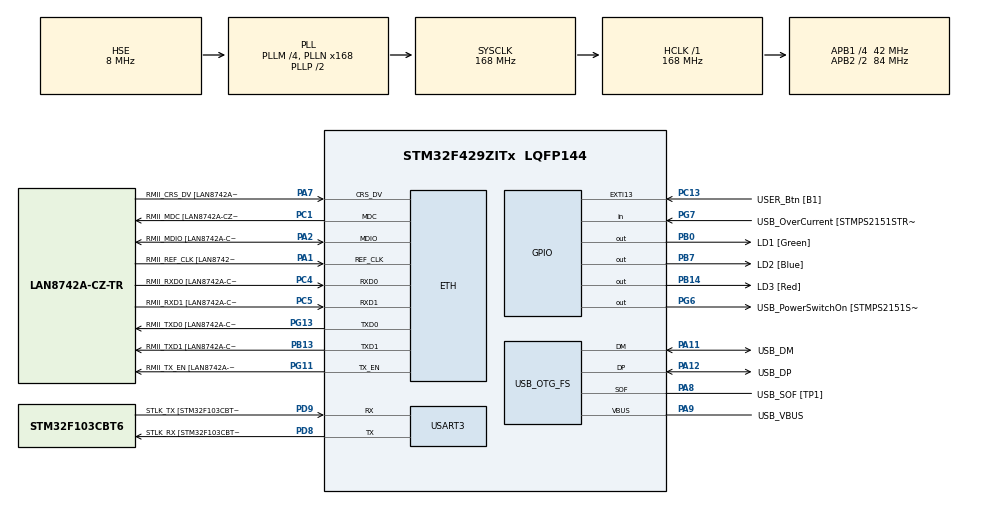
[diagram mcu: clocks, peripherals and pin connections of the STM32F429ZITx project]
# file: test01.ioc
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ETH.MediaInterface=HAL_ETH_RMII_MODE
ETH.PHY_Name=LAN8742A_PHY_ADDRESS
ETH.PHY_Value=0
ETH.PhyAddress=0
Mcu.Family=STM32F4
Mcu.Name=STM32F429ZITx
Mcu.Package=LQFP144
NVIC.PriorityGroup=NVIC_PRIORITYGROUP_4
PA1.GPIO_Label=RMII_REF_CLK [LAN8742A-CZ-TR_REFCLK0]
PA1.Mode=RMII
PA1.Signal=ETH_REF_CLK
PA10.GPIO_Label=USB_ID
PA10.Signal=USB_OTG_FS_ID
PA11.GPIO_Label=USB_DM
PA11.Mode=Device_Only
PA11.Signal=USB_OTG_FS_DM
PA12.GPIO_Label=USB_DP
PA12.Mode=Device_Only
PA12.Signal=USB_OTG_FS_DP
PA13.GPIO_Label=TMS
PA13.Mode=Serial_Wire
PA13.Signal=SYS_JTMS-SWDIO
PA14.GPIO_Label=TCK
PA14.Mode=Serial_Wire
PA14.Signal=SYS_JTCK-SWCLK
PA2.GPIO_Label=RMII_MDIO [LAN8742A-CZ-TR_MDIO]
PA2.Mode=RMII
PA2.Signal=ETH_MDIO
PA7.GPIO_Label=RMII_CRS_DV [LAN8742A-CZ-TR_CRS_DV]
PA7.Mode=RMII
PA7.Signal=ETH_CRS_DV
PA8.GPIO_Label=USB_SOF [TP1]
PA8.Mode=Activate_SOF_FS
PA8.Signal=USB_OTG_FS_SOF
PA9.GPIO_Label=USB_VBUS
PA9.Mode=Activate_VBUS
PA9.Signal=USB_OTG_FS_VBUS
PB0.GPIO_Label=LD1 [Green]
PB0.Signal=GPIO_Output
PB13.GPIO_Label=RMII_TXD1 [LAN8742A-CZ-TR_TXD1]
PB13.Mode=RMII
PB13.Signal=ETH_TXD1
PB14.GPIO_Label=LD3 [Red]
PB14.Signal=GPIO_Output
PB7.GPIO_Label=LD2 [Blue]
PB7.Signal=GPIO_Output
PC1.GPIO_Label=RMII_MDC [LAN8742A-CZ-TR_MDC]
PC1.Mode=RMII
PC1.Signal=ETH_MDC
PC13.GPIO_Label=USER_Btn [B1]
PC13.Signal=GPXTI13
PC14/OSC32_IN.Mode=LSE-External-Oscillator
PC14/OSC32_IN.Signal=RCC_OSC32_IN
PC15/OSC32_OUT.Mode=LSE-External-Oscillator
PC15/OSC32_OUT.Signal=RCC_OSC32_OUT
PC4.GPIO_Label=RMII_RXD0 [LAN8742A-CZ-TR_RXD0]
PC4.Mode=RMII
PC4.Signal=ETH_RXD0
PC5.GPIO_Label=RMII_RXD1 [LAN8742A-CZ-TR_RXD1]
PC5.Mode=RMII
PC5.Signal=ETH_RXD1
PD8.GPIO_Label=STLK_RX [STM32F103CBT6_PA3]
PD8.Mode=Asynchronous
PD8.Signal=USART3_TX
PD9.GPIO_Label=STLK_TX [STM32F103CBT6_PA2]
PD9.Mode=Asynchronous
PD9.Signal=USART3_RX
PG11.GPIO_Label=RMII_TX_EN [LAN8742A-CZ-TR_TXEN]
PG11.Mode=RMII
PG11.Signal=ETH_TX_EN
PG13.GPIO_Label=RMII_TXD0 [LAN8742A-CZ-TR_TXD0]
PG13.Mode=RMII
PG13.Signal=ETH_TXD0
PG6.GPIO_Label=USB_PowerSwitchOn [STMPS2151STR_EN]
PG6.Signal=GPIO_Output
PG7.GPIO_Label=USB_OverCurrent [STMPS2151STR_FAULT]
PG7.Signal=GPIO_Input
PH0/OSC_IN.GPIO_Label=MCO [STM32F103CBT6_PA8]
PH0/OSC_IN.Mode=HSE-External-Clock-Source
PH0/OSC_IN.Signal=RCC_OSC_IN
PH1/OSC_OUT.Mode=HSE-External-Clock-Source
PH1/OSC_OUT.Signal=RCC_OSC_OUT
ProjectManager.HeapSize=0x200
ProjectManager.StackSize=0x400
ProjectManager.TargetToolchain=STM32CubeIDE
RCC.48MHZClocksFreq_Value=48000000
RCC.AHBFreq_Value=168000000
RCC.APB1CLKDivider=RCC_HCLK_DIV4
RCC.APB1Freq_Value=42000000
RCC.APB1TimFreq_Value=84000000
RCC.APB2CLKDivider=RCC_HCLK_DIV2
RCC.APB2Freq_Value=84000000
RCC.APB2TimCLKDivider=2
RCC.APB2TimFreq_Value=168000000
RCC.CortexFreq_Value=168000000
RCC.HCLKFreq_Value=168000000
RCC.HSE_VALUE=8000000
RCC.HSI_VALUE=16000000
RCC.PLLM=4
RCC.PLLMUL=RCC_PLL_MUL9
RCC.PLLN=168
RCC.PLLQ=7
RCC.PRESCALERUSB=RCC_USBCLKSOURCE_PLL_DIV1_5
RCC.SYSCLKFreq_VALUE=168000000
RCC.SYSCLKSource=RCC_SYSCLKSOURCE_PLLCLK
RCC.SYSCLKSourceVirtual=RCC_SYSCLKSOURCE_PLLCLK
RCC.USBFreq_Value=48000000
RCC.VCOOutputFreq_Value=336000000
USART3.VirtualMode=VM_ASYNC
USB_OTG_FS.VirtualMode=Device_Only
board=NUCLEO-F429ZI

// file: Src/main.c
/* USER CODE BEGIN Header */
/**
  ******************************************************************************
  * @file           : main.c
  * @brief          : Main program body
  ******************************************************************************
  * @attention
  *
  * Copyright (c) 2024 STMicroelectronics.
  * All rights reserved.
  *
  * This software is licensed under terms that can be found in the LICENSE file
  * in the root directory of this software component.
  * If no LICENSE file comes with this software, it is provided AS-IS.
  *
  ******************************************************************************
  */
/* USER CODE END Header */
#include "main.h"
#include "string.h"
#include "stm32f4xx_hal.h"

/* USER CODE BEGIN Includes */
#include "stdio.h"
#include "stdbool.h"
/* USER CODE END Includes */

ETH_TxPacketConfig TxConfig;
ETH_DMADescTypeDef  DMARxDscrTab[ETH_RX_DESC_CNT]; /* Ethernet Rx DMA Descriptors */
ETH_DMADescTypeDef  DMATxDscrTab[ETH_TX_DESC_CNT]; /* Ethernet Tx DMA Descriptors */

ETH_HandleTypeDef heth;

UART_HandleTypeDef huart3;

PCD_HandleTypeDef hpcd_USB_OTG_FS;

void SystemClock_Config(void);
static void MX_GPIO_Init(void);
static void MX_ETH_Init(void);
static void MX_USART3_UART_Init(void);
static void MX_USB_OTG_FS_PCD_Init(void);

int main(void)

{

  /* MCU Configuration--------------------------------------------------------*/

  /* Reset of all peripherals, Initializes the Flash interface and the Systick. */
  HAL_Init();

  /* Configure the system clock */
  SystemClock_Config();

  /* Initialize all configured peripherals */
  MX_GPIO_Init();
  MX_ETH_Init();
  MX_USART3_UART_Init();
  MX_USB_OTG_FS_PCD_Init();

  /* USER CODE BEGIN 2 */
  printf("System Started....!\r\n");
  /* USER CODE END 2 */

  /* Infinite loop */
  /* USER CODE BEGIN WHILE */
  while (1)
  {
	  static uint8_t i=0;
	  HAL_Delay(500);
	  printf("\n%02x\r\n",i++);
	  {
		  float a = 0.100000000001f;
		  float b = 0.899999999999f;

		  printf("result = %f. %f\r\n",a+b,1.23456789012345678);

	  }

	  HAL_GPIO_TogglePin(LD1_GPIO_Port, LD1_Pin);

	  led1_on();
	  HAL_Delay(300);
	  led1_off();

	  HAL_GPIO_TogglePin(LD2_GPIO_Port, LD2_Pin);

	  /*led2_on();
	  HAL_Delay(300);
	  led2_off(); */

	  void led2_onoff(bool on_flag);
	  HAL_Delay(300);

	  HAL_GPIO_TogglePin(LD3_GPIO_Port, LD3_Pin);

	  led3_on();
	  HAL_Delay(300);
	  led3_off();
    /* USER CODE END WHILE */

  }
}

void SystemClock_Config(void)
{
  RCC_OscInitTypeDef RCC_OscInitStruct = {0};
  RCC_ClkInitTypeDef RCC_ClkInitStruct = {0};

  /** Configure the main internal regulator output voltage
  */
  __HAL_RCC_PWR_CLK_ENABLE();
  __HAL_PWR_VOLTAGESCALING_CONFIG(PWR_REGULATOR_VOLTAGE_SCALE1);

  /** Initializes the RCC Oscillators according to the specified parameters
  * in the RCC_OscInitTypeDef structure.
  */
  RCC_OscInitStruct.OscillatorType = RCC_OSCILLATORTYPE_HSE;
  RCC_OscInitStruct.HSEState = RCC_HSE_BYPASS;
  RCC_OscInitStruct.PLL.PLLState = RCC_PLL_ON;
  RCC_OscInitStruct.PLL.PLLSource = RCC_PLLSOURCE_HSE;
  RCC_OscInitStruct.PLL.PLLM = 4;
  RCC_OscInitStruct.PLL.PLLN = 168;
  RCC_OscInitStruct.PLL.PLLP = RCC_PLLP_DIV2;
  RCC_OscInitStruct.PLL.PLLQ = 7;
  if (HAL_RCC_OscConfig(&RCC_OscInitStruct) != HAL_OK)
  {
    Error_Handler();
  }

  /** Initializes the CPU, AHB and APB buses clocks
  */
  RCC_ClkInitStruct.ClockType = RCC_CLOCKTYPE_HCLK|RCC_CLOCKTYPE_SYSCLK
                              |RCC_CLOCKTYPE_PCLK1|RCC_CLOCKTYPE_PCLK2;
  RCC_ClkInitStruct.SYSCLKSource = RCC_SYSCLKSOURCE_PLLCLK;
  RCC_ClkInitStruct.AHBCLKDivider = RCC_SYSCLK_DIV1;
  RCC_ClkInitStruct.APB1CLKDivider = RCC_HCLK_DIV4;
  RCC_ClkInitStruct.APB2CLKDivider = RCC_HCLK_DIV2;

  if (HAL_RCC_ClockConfig(&RCC_ClkInitStruct, FLASH_LATENCY_5) != HAL_OK)
  {
    Error_Handler();
  }
}

static void MX_ETH_Init(void)
{

   static uint8_t MACAddr[6];

  heth.Instance = ETH;
  MACAddr[0] = 0x00;
  MACAddr[1] = 0x80;
  MACAddr[2] = 0xE1;
  MACAddr[3] = 0x00;
  MACAddr[4] = 0x00;
  MACAddr[5] = 0x00;
  heth.Init.MACAddr = &MACAddr[0];
  heth.Init.MediaInterface = HAL_ETH_RMII_MODE;
  heth.Init.TxDesc = DMATxDscrTab;
  heth.Init.RxDesc = DMARxDscrTab;
  heth.Init.RxBuffLen = 1524;

  if (HAL_ETH_Init(&heth) != HAL_OK)
  {
    Error_Handler();
  }

  memset(&TxConfig, 0 , sizeof(ETH_TxPacketConfig));
  TxConfig.Attributes = ETH_TX_PACKETS_FEATURES_CSUM | ETH_TX_PACKETS_FEATURES_CRCPAD;
  TxConfig.ChecksumCtrl = ETH_CHECKSUM_IPHDR_PAYLOAD_INSERT_PHDR_CALC;
  TxConfig.CRCPadCtrl = ETH_CRC_PAD_INSERT;

}

static void MX_USART3_UART_Init(void)
{

  huart3.Instance = USART3;
  huart3.Init.BaudRate = 115200;
  huart3.Init.WordLength = UART_WORDLENGTH_8B;
  huart3.Init.StopBits = UART_STOPBITS_1;
  huart3.Init.Parity = UART_PARITY_NONE;
  huart3.Init.Mode = UART_MODE_TX_RX;
  huart3.Init.HwFlowCtl = UART_HWCONTROL_NONE;
  huart3.Init.OverSampling = UART_OVERSAMPLING_16;
  if (HAL_UART_Init(&huart3) != HAL_OK)
  {
    Error_Handler();
  }

}

static void MX_USB_OTG_FS_PCD_Init(void)
{

  hpcd_USB_OTG_FS.Instance = USB_OTG_FS;
  hpcd_USB_OTG_FS.Init.dev_endpoints = 4;
  hpcd_USB_OTG_FS.Init.speed = PCD_SPEED_FULL;
  hpcd_USB_OTG_FS.Init.dma_enable = DISABLE;
  hpcd_USB_OTG_FS.Init.phy_itface = PCD_PHY_EMBEDDED;
  hpcd_USB_OTG_FS.Init.Sof_enable = ENABLE;
  hpcd_USB_OTG_FS.Init.low_power_enable = DISABLE;
  hpcd_USB_OTG_FS.Init.lpm_enable = DISABLE;
  hpcd_USB_OTG_FS.Init.vbus_sensing_enable = ENABLE;
  hpcd_USB_OTG_FS.Init.use_dedicated_ep1 = DISABLE;
  if (HAL_PCD_Init(&hpcd_USB_OTG_FS) != HAL_OK)
  {
    Error_Handler();
  }

}

static void MX_GPIO_Init(void)
{
  GPIO_InitTypeDef GPIO_InitStruct = {0};

  /* GPIO Ports Clock Enable */
  __HAL_RCC_GPIOC_CLK_ENABLE();
  __HAL_RCC_GPIOH_CLK_ENABLE();
  __HAL_RCC_GPIOA_CLK_ENABLE();
  __HAL_RCC_GPIOB_CLK_ENABLE();
  __HAL_RCC_GPIOD_CLK_ENABLE();
  __HAL_RCC_GPIOG_CLK_ENABLE();

  /*Configure GPIO pin Output Level */
  HAL_GPIO_WritePin(GPIOB, LD1_Pin|LD3_Pin|LD2_Pin, GPIO_PIN_RESET);

  /*Configure GPIO pin Output Level */
  HAL_GPIO_WritePin(USB_PowerSwitchOn_GPIO_Port, USB_PowerSwitchOn_Pin, GPIO_PIN_RESET);

  /*Configure GPIO pin : USER_Btn_Pin */
  GPIO_InitStruct.Pin = USER_Btn_Pin;
  GPIO_InitStruct.Mode = GPIO_MODE_IT_RISING;
  GPIO_InitStruct.Pull = GPIO_NOPULL;
  HAL_GPIO_Init(USER_Btn_GPIO_Port, &GPIO_InitStruct);

  /*Configure GPIO pins : LD1_Pin LD3_Pin LD2_Pin */
  GPIO_InitStruct.Pin = LD1_Pin|LD3_Pin|LD2_Pin;
  GPIO_InitStruct.Mode = GPIO_MODE_OUTPUT_PP;
  GPIO_InitStruct.Pull = GPIO_NOPULL;
  GPIO_InitStruct.Speed = GPIO_SPEED_FREQ_LOW;
  HAL_GPIO_Init(GPIOB, &GPIO_InitStruct);

  /*Configure GPIO pin : USB_PowerSwitchOn_Pin */
  GPIO_InitStruct.Pin = USB_PowerSwitchOn_Pin;
  GPIO_InitStruct.Mode = GPIO_MODE_OUTPUT_PP;
  GPIO_InitStruct.Pull = GPIO_NOPULL;
  GPIO_InitStruct.Speed = GPIO_SPEED_FREQ_LOW;
  HAL_GPIO_Init(USB_PowerSwitchOn_GPIO_Port, &GPIO_InitStruct);

  /*Configure GPIO pin : USB_OverCurrent_Pin */
  GPIO_InitStruct.Pin = USB_OverCurrent_Pin;
  GPIO_InitStruct.Mode = GPIO_MODE_INPUT;
  GPIO_InitStruct.Pull = GPIO_NOPULL;
  HAL_GPIO_Init(USB_OverCurrent_GPIO_Port, &GPIO_InitStruct);

}

void Error_Handler(void)
{
  __disable_irq();
  while (1)
  {
  }
}
